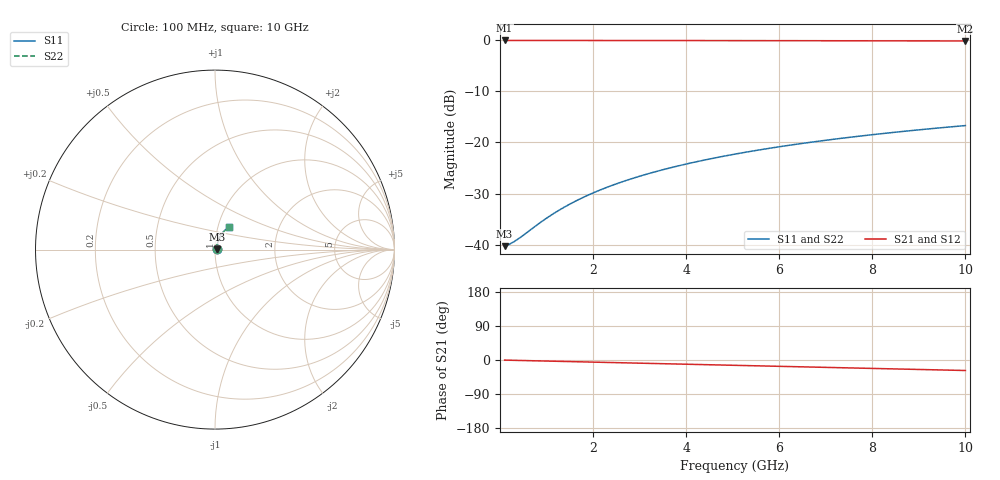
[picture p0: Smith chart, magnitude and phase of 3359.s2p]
# Hz S RI R 50.00
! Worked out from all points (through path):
!   100 points, 100 MHz to 10 GHz, reference 50 ohm
!   highest |S21| = -0.08 dB at 100 MHz (marker M1); lowest = -0.2 dB at 10 GHz (marker M2)
!   group delay of S21, straight-line fit = 7.7 ps
!   lowest |S11| = -40.3 dB at 100 MHz (marker M3), VSWR 1.02, Z = 51 + j0.151 ohm
!   |S11| at or under -10 dB: start of sweep to end of sweep
!   |S22| runs from -40.3 to -16.7 dB; largest |S21 - S12| = 0
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1e8  0.00957 0.00148  0.9904 -0.00482  0.9904 -0.00482  0.00957 0.00148
2e8  0.00966 0.00296  0.9903 -0.00964  0.9903 -0.00964  0.00966 0.00296
3e8  0.00974 0.00444  0.9902 -0.0145  0.9902 -0.0145  0.00974 0.00444
4e8  0.00982 0.00592  0.9901 -0.0193  0.9901 -0.0193  0.00982 0.00592
9e8  0.0104 0.0133  0.9891 -0.0433  0.9891 -0.0433  0.0104 0.0133
1.2e9  0.0109 0.0177  0.9882 -0.0578  0.9882 -0.0578  0.0109 0.0177
1.5e9  0.0116 0.0221  0.9871 -0.0722  0.9871 -0.0722  0.0116 0.0221
1.8e9  0.0123 0.0265  0.9858 -0.0866  0.9858 -0.0866  0.0123 0.0265
2.1e9  0.0132 0.0308  0.9843 -0.1009  0.9843 -0.1009  0.0132 0.0308
2.5e9  0.0146 0.0366  0.9819 -0.12  0.9819 -0.12  0.0146 0.0366
2.9e9  0.0161 0.0422  0.9791 -0.139  0.9791 -0.139  0.0161 0.0422
3.4e9  0.0184 0.0493  0.975 -0.1627  0.975 -0.1627  0.0184 0.0493
3.8e9  0.0205 0.0548  0.9713 -0.1815  0.9713 -0.1815  0.0205 0.0548
4.2e9  0.0228 0.0602  0.9672 -0.2003  0.9672 -0.2003  0.0228 0.0602
4.6e9  0.0253 0.0655  0.9627 -0.2189  0.9627 -0.2189  0.0253 0.0655
5.1e9  0.0287 0.0721  0.9566 -0.242  0.9566 -0.242  0.0287 0.0721
5.9e9  0.0347 0.0821  0.9455 -0.2786  0.9455 -0.2786  0.0347 0.0821
6.7e9  0.0415 0.0916  0.933 -0.3145  0.933 -0.3145  0.0415 0.0916
7.5e9  0.0491 0.1006  0.919 -0.3498  0.919 -0.3498  0.0491 0.1006
8.4e9  0.0583 0.1099  0.9016 -0.3886  0.9016 -0.3886  0.0583 0.1099
9.2e9  0.0672 0.1175  0.8847 -0.4223  0.8847 -0.4223  0.0672 0.1175
1e10  0.0765 0.1243  0.8666 -0.4552  0.8666 -0.4552  0.0765 0.1243
